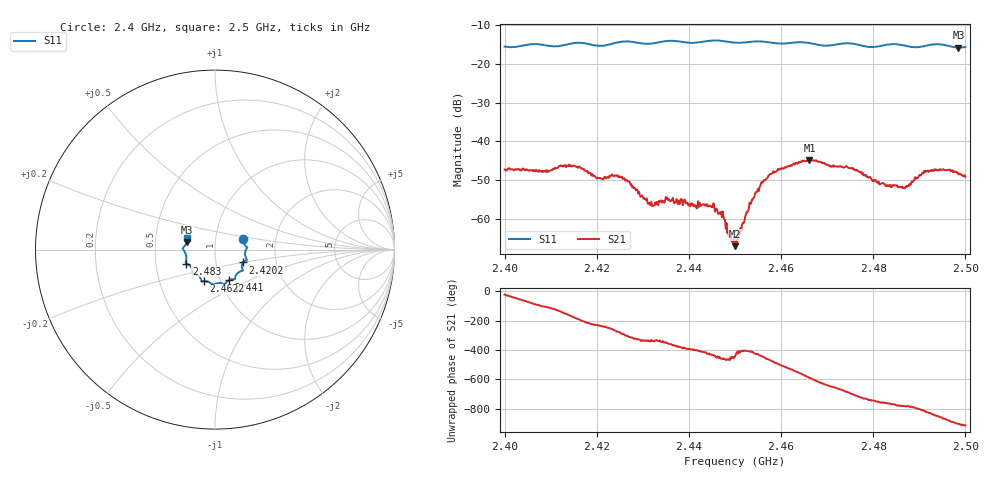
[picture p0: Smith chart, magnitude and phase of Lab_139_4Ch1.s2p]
# Hz S RI R 50
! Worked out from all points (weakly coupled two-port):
!   601 points, 2.4 GHz to 2.5 GHz, reference 50 ohm
!   highest |S21| = -44.85 dB at 2.4662 GHz (marker M1); lowest = -67.0 dB at 2.45 GHz (marker M2)
!   lowest |S11| = -15.8 dB at 2.4985 GHz (marker M3), VSWR 1.39, Z = 36.3 + j3.11 ohm
!   |S11| at or under -10 dB: start of sweep to end of sweep
!   S12 and S22 are empty: the file has one direction only
!   S11 on the Smith chart (normalised r, x): 2.4 GHz: 1.36, +0.17; 2.4202 GHz: 1.35, -0.20; 2.441 GHz: 1.09, -0.39; 2.4622 GHz: 0.83, -0.30; 2.483 GHz: 0.72, -0.12; 2.5 GHz: 0.73, +0.09
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2.4e9  0.1564 0.0605  0.00401 -0.00165  0 0  0 0
2.416667e9  0.1775 -0.0583  -0.00427 0.00151  0 0  0 0
2.420167e9  0.1561 -0.0718  -0.00216 0.00266  0 0  0 0
2.425e9  0.1558 -0.1129  0.000643 0.00339  0 0  0 0
2.431667e9  0.1203 -0.1376  0.00139 0.000547  0 0  0 0
2.433333e9  0.1128 -0.1522  0.0014 0.000546  0 0  0 0
2.441e9  0.0768 -0.1705  0.0012 -0.000844  0 0  0 0
2.445667e9  0.0526 -0.1939  0.000192 -0.00123  0 0  0 0
2.447333e9  0.047 -0.1917  -0.000235 -0.00123  0 0  0 0
2.448833e9  0.0374 -0.1879  -0.000213 -0.000586  0 0  0 0
2.45e9  0.0268 -0.1863  3.29e-05 -0.000444  0 0  0 0
2.455833e9  -0.0133 -0.1946  0.000271 -0.003  0 0  0 0
2.462167e9  -0.0631 -0.1763  -0.00493 -0.000679  0 0  0 0
2.466167e9  -0.0755 -0.1699  -0.00371 0.00435  0 0  0 0
2.466667e9  -0.0765 -0.167  -0.00325 0.00466  0 0  0 0
2.475333e9  -0.1256 -0.1338  0.00422 0.00165  0 0  0 0
2.483e9  -0.1593 -0.078  0.002 -0.00186  0 0  0 0
2.483333e9  -0.1609 -0.0773  0.00196 -0.00189  0 0  0 0
2.487167e9  -0.1603 -0.0577  0.0012 -0.00238  0 0  0 0
2.4915e9  -0.1719 -0.0063  -0.000702 -0.00402  0 0  0 0
2.4985e9  -0.1568 0.0417  -0.00375 1.9e-05  0 0  0 0
2.5e9  -0.1533 0.063  -0.0034 0.000795  0 0  0 0
